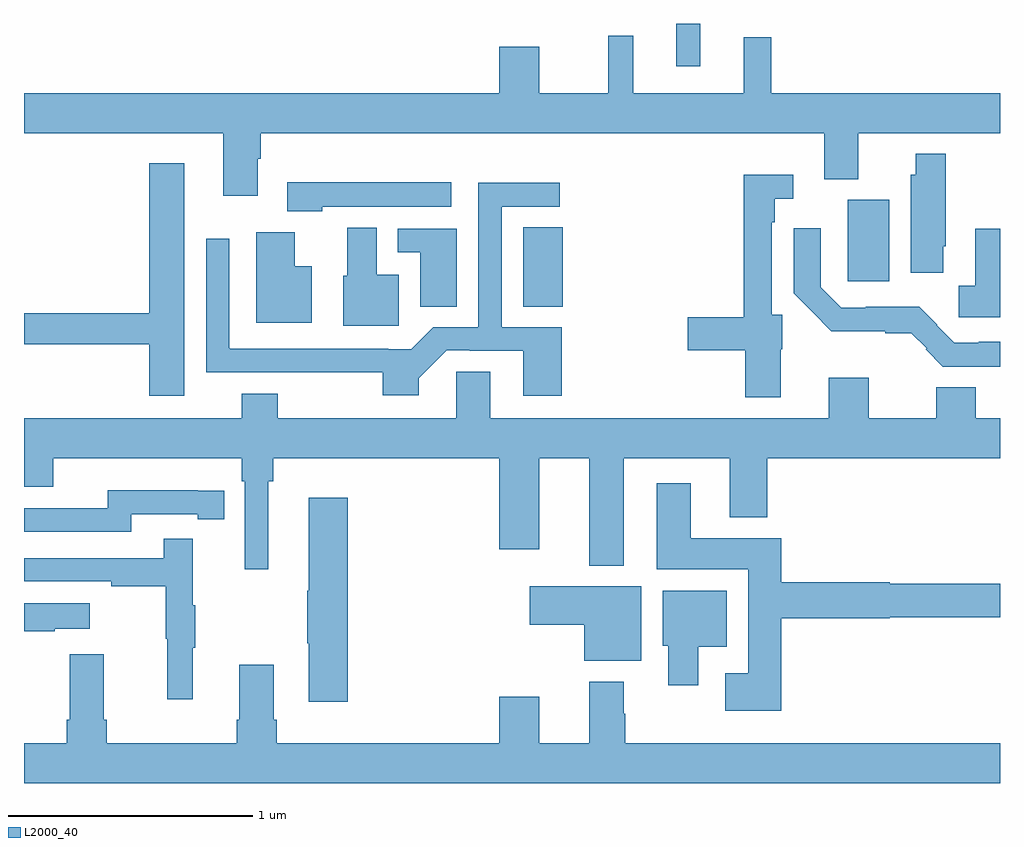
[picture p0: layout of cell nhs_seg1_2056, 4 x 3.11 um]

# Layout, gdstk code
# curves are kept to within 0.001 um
import gdstk
lib = gdstk.Library(unit=1e-6, precision=1e-09)
def R(c, l, rs):  # rectangles x0, y0, x1, y1
    for r in rs: c.add(gdstk.rectangle(r[:2], r[2:], *l))
def P(c, l, *ps):  # polygons
    for p in ps: c.add(gdstk.Polygon(p, *l))
L2000_40 = (2000, 40)

nhs_seg1_2056 = lib.new_cell('nhs_seg1_2056')
R(nhs_seg1_2056, L2000_40, [(225.047,531.04,225.208,531.365), (226.376,531.144,226.546,531.478), (225.674,532.026,225.771,532.199)])
P(nhs_seg1_2056, L2000_40, [(223.957,531.646),(223.97,531.646),(223.97,531.752),(226.28,531.752),(226.28,531.563),(226.42,531.563),(226.42,531.752),(227,531.752),(227,531.916),(226.063,531.916),(226.063,532.144),(225.95,532.144),(225.95,531.916),(225.497,531.916),(225.497,532.15),(225.394,532.15),(225.394,531.916),(225.112,531.916),(225.112,532.105),(224.948,532.105),(224.948,531.916),(223,531.916),(223,531.752),(223.817,531.752),(223.817,531.495),(223.957,531.495)],
  [(226.768,531.288),(226.777,531.288),(226.777,531.667),(226.655,531.667),(226.655,531.582),(226.634,531.582),(226.634,531.18),(226.768,531.18)],
  [(223.657,531.628),(223.514,531.628),(223.514,531.014),(223,531.014),(223,530.886),(223.514,530.886),(223.514,530.676),(223.657,530.676)],
  [(226.102,530.865),(226.107,530.865),(226.107,531.008),(226.065,531.008),(226.065,531.386),(226.077,531.386),(226.077,531.483),(226.153,531.483),(226.153,531.58),(225.949,531.58),(225.949,530.996),(225.72,530.996),(225.72,530.861),(225.956,530.861),(225.956,530.669),(226.102,530.669)],
  [(224.223,531.449),(224.752,531.449),(224.752,531.55),(224.079,531.55),(224.079,531.431),(224.223,531.431)],
  [(225.203,530.955),(224.958,530.955),(224.958,531.45),(225.196,531.45),(225.196,531.548),(224.862,531.548),(224.862,530.955),(224.678,530.955),(224.588,530.865),(224.492,530.865),(224.492,530.868),(223.843,530.868),(223.842,531.319),(223.746,531.319),(223.746,530.772),(224.47,530.771),(224.47,530.678),(224.617,530.678),(224.617,530.746),(224.733,530.862),(224.827,530.862),(224.827,530.859),(225.047,530.859),(225.047,530.676),(225.203,530.676)],
  [(224.536,531.172),(224.446,531.172),(224.446,531.364),(224.324,531.364),(224.324,531.168),(224.309,531.168),(224.309,530.963),(224.536,530.963)],
  [(227,530.896),(226.912,530.896),(226.912,530.892),(226.812,530.892),(226.74,530.964),(226.743,530.967),(226.669,531.041),(226.45,531.041),(226.45,531.036),(226.35,531.036),(226.266,531.12),(226.266,531.361),(226.154,531.361),(226.154,531.096),(226.309,530.939),(226.529,530.939),(226.529,530.931),(226.637,530.931),(226.699,530.869),(226.695,530.865),(226.765,530.795),(227,530.795)],
  [(224.773,531.36),(224.531,531.36),(224.531,531.264),(224.624,531.264),(224.624,531.04),(224.773,531.04)],
  [(227,531.359),(226.898,531.359),(226.898,531.127),(226.83,531.127),(226.83,530.998),(227,530.998)],
  [(224.179,531.205),(224.11,531.205),(224.11,531.346),(223.952,531.346),(223.952,530.975),(224.179,530.975)],
  [(224.911,530.774),(224.772,530.774),(224.772,530.584),(224.04,530.584),(224.04,530.683),(223.892,530.683),(223.892,530.584),(223,530.584),(223,530.303),(223.12,530.303),(223.12,530.42),(223.892,530.42),(223.892,530.324),(223.905,530.324),(223.905,529.965),(224.002,529.965),(224.002,530.324),(224.021,530.324),(224.021,530.42),(224.948,530.42),(224.948,530.046),(225.112,530.046),(225.112,530.42),(225.317,530.42),(225.317,529.979),(225.457,529.979),(225.457,530.42),(225.893,530.42),(225.893,530.177),(226.046,530.177),(226.046,530.42),(227,530.42),(227,530.584),(226.9,530.584),(226.9,530.71),(226.739,530.71),(226.739,530.584),(226.462,530.584),(226.462,530.749),(226.298,530.749),(226.298,530.584),(224.911,530.584)],
  [(226.103,529.763),(226.548,529.763),(226.548,529.768),(227,529.768),(227,529.904),(226.548,529.904),(226.548,529.91),(226.103,529.91),(226.103,530.092),(225.733,530.092),(225.733,530.317),(225.593,530.317),(225.593,529.964),(225.968,529.964),(225.968,529.537),(225.873,529.537),(225.873,529.385),(226.103,529.385)],
  [(223.44,530.19),(223.712,530.19),(223.712,530.17),(223.82,530.17),(223.82,530.286),(223.712,530.286),(223.712,530.287),(223.344,530.287),(223.344,530.214),(223,530.214),(223,530.118),(223.44,530.118)],
  [(224.327,530.257),(224.168,530.257),(224.168,529.877),(224.161,529.877),(224.161,529.66),(224.168,529.66),(224.168,529.422),(224.327,529.422)],
  [(223.691,529.643),(223.702,529.643),(223.702,529.817),(223.691,529.817),(223.691,530.089),(223.573,530.089),(223.573,530.01),(223,530.01),(223,529.914),(223.357,529.914),(223.357,529.894),(223.581,529.894),(223.581,529.68),(223.588,529.68),(223.588,529.431),(223.691,529.431)],
  [(225.529,529.894),(225.072,529.894),(225.072,529.736),(225.296,529.736),(225.296,529.589),(225.529,529.589)],
  [(225.763,529.646),(225.88,529.646),(225.88,529.876),(225.617,529.876),(225.617,529.65),(225.641,529.65),(225.641,529.488),(225.763,529.488)],
  [(223.127,529.721),(223.27,529.721),(223.27,529.825),(223,529.825),(223,529.711),(223.127,529.711)],
  [(227,529.252),(225.465,529.252),(225.465,529.373),(225.457,529.373),(225.457,529.504),(225.317,529.504),(225.317,529.252),(225.112,529.252),(225.112,529.441),(224.948,529.441),(224.948,529.252),(224.036,529.252),(224.036,529.348),(224.023,529.348),(224.023,529.573),(223.883,529.573),(223.883,529.348),(223.871,529.348),(223.871,529.252),(223.34,529.252),(223.34,529.348),(223.327,529.348),(223.327,529.615),(223.187,529.615),(223.187,529.348),(223.175,529.348),(223.175,529.252),(223,529.252),(223,529.088),(227,529.088)])

lib.write_gds('nhs_seg1_2056.gds')
